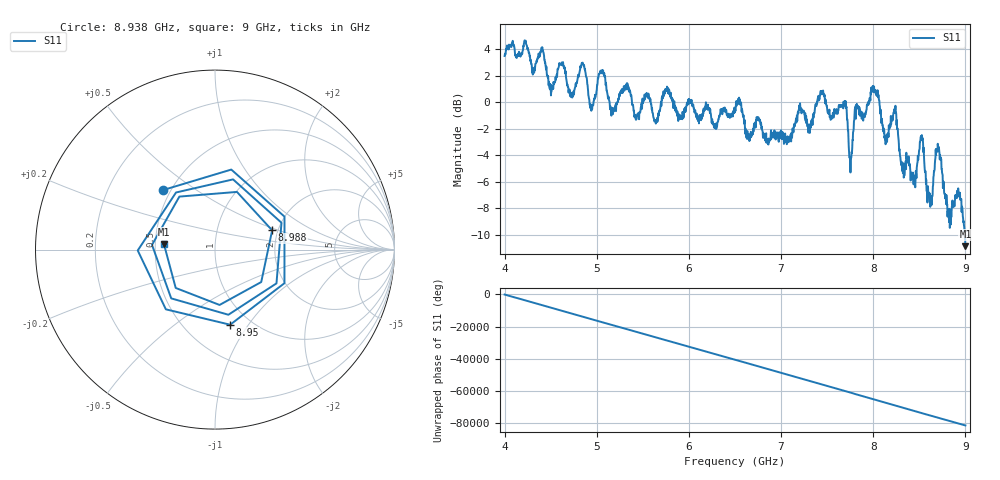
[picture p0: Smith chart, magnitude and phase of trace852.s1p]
! Created with skrf 1.8.0 (http://scikit-rf.org).
# Hz S RI R 50.0
!freq ReS11 ImS11
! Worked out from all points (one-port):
!   1601 points, 4 GHz to 9 GHz, reference 50 ohm
!   lowest |S11| = -10.9 dB at 9 GHz (marker M1), VSWR 1.80, Z = 27.8 + j1.86 ohm
!   |S11| at or under -10 dB: 8.990773 GHz to end of sweep
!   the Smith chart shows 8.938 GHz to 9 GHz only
!   S11 on the Smith chart (normalised r, x): 8.938 GHz: 0.46, +0.37; 8.95 GHz: 0.81, -0.83; 8.988 GHz: 1.86, +0.45; 9 GHz: 0.56, +0.04
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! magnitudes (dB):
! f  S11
! 4 GHz  3.5
! 4.403 GHz  4.1
! 4.503 GHz  0.5
! 4.625 GHz  2.8
! 4.731 GHz  0.4
! 4.853 GHz  2.8
! 4.941 GHz  -0.7
! 5.047 GHz  2.3
! 5.162 GHz  -0.7
! 5.25 GHz  0.5
! 5.875 GHz  -0.7
! 6.5 GHz  -0.6
! 7.125 GHz  -2.0
! 7.447 GHz  0.7
! 7.688 GHz  -0.2
! 7.75 GHz  -4.9
! 7.819 GHz  -0.5
! 8.003 GHz  0.7
! 8.375 GHz  -4.6
! 8.444 GHz  -6.2
! 8.525 GHz  -2.9
! 8.622 GHz  -7.1
! 8.703 GHz  -3.4
! 8.825 GHz  -9.1
! 8.938 GHz  -7.1
! 8.95 GHz  -7.4
! 8.988 GHz  -9.5
! 9 GHz  -10.9
